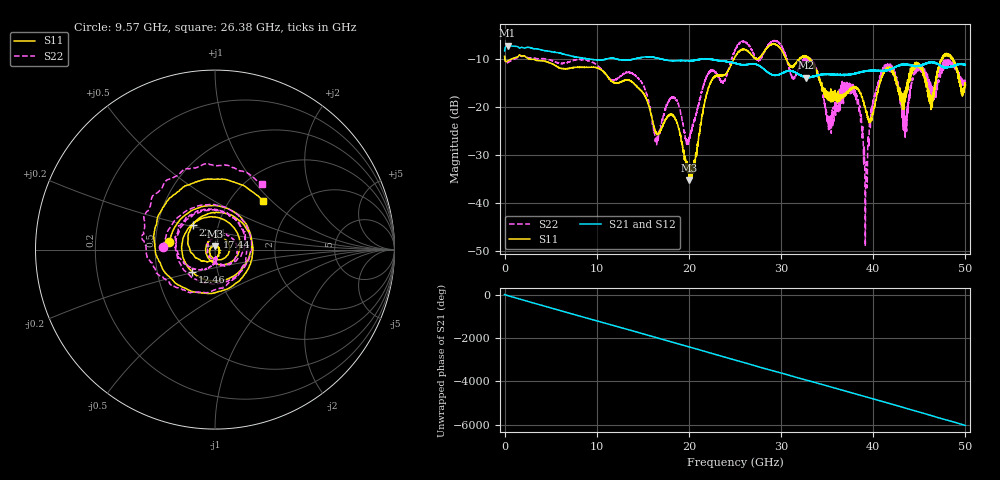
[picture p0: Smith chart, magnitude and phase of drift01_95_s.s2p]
!Created with skrf (http://scikit-rf.org).
# Hz S RI R 50.0
!freq ReS11 ImS11 ReS21 ImS21 ReS12 ImS12 ReS22 ImS22
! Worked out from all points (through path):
!   10001 points, 300 kHz to 50 GHz, reference 50 ohm
!   highest |S21| = -7.33 dB at 325.3 MHz (marker M1); lowest = -14.0 dB at 32.74 GHz (marker M2)
!   group delay of S21, straight-line fit = 335 ps
!   lowest |S11| = -35.2 dB at 20.01 GHz (marker M3), VSWR 1.04, Z = 50 + j1.73 ohm
!   |S11| at or under -10 dB: 2.553 GHz to 24.92 GHz (22.37 GHz wide, 163 % of centre); 30.51 GHz to 32.01 GHz (1.499 GHz wide, 4.8 % of centre); 33.05 GHz to 47.44 GHz (14.39 GHz wide, 35.7 % of centre) (the widest 3 of 15)
!   |S22| runs from -48.9 to -6.2 dB; largest |S21 - S12| = 0.0092
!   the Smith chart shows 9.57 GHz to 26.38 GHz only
!   S11 on the Smith chart (normalised r, x): 9.57 GHz: 0.59, +0.05; 12.46 GHz: 0.76, -0.20; 17.44 GHz: 1.02, +0.15; 22.44 GHz: 0.75, +0.21; 26.38 GHz: 1.41, +0.88
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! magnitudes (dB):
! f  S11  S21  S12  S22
! 300 kHz  -9.5  -8.4  -8.5  -9.5
! 325.3 MHz  -10.5  -7.3  -7.3  -10.9
! 8.335 GHz  -11.8  -9.8  -9.8  -10.2
! 9.57 GHz  -11.8  -10.2  -10.2  -10.8
! 12.46 GHz  -15.0  -10.3  -10.2  -13.9
! 16.67 GHz  -25.8  -9.9  -9.9  -27.2
! 17.44 GHz  -22.8  -10.3  -10.3  -20.6
! 20.01 GHz  -35.2  -10.5  -10.5  -26.6
! 22.44 GHz  -14.6  -10.2  -10.2  -12.6
! 25 GHz  -9.6  -11.0  -11.0  -8.3
! 26.38 GHz  -8.4  -11.2  -11.2  -6.9
! 32.74 GHz  -9.6  -14.0  -13.9  -10.0
! 33.34 GHz  -10.7  -13.8  -13.8  -10.4
! 35.23 GHz  -17.2  -13.2  -13.2  -22.7
! 37.97 GHz  -16.0  -13.2  -13.1  -17.0
! 39.17 GHz  -20.5  -12.6  -12.7  -42.4
! 40.14 GHz  -20.1  -12.5  -12.5  -17.9
! 41.67 GHz  -12.1  -12.3  -12.3  -11.5
! 43.43 GHz  -17.7  -11.2  -11.3  -25.9
! 44.88 GHz  -10.9  -11.5  -11.5  -11.5
! 46.28 GHz  -19.5  -10.7  -10.6  -17.4
! 50 GHz  -15.5  -11.3  -11.4  -14.9
